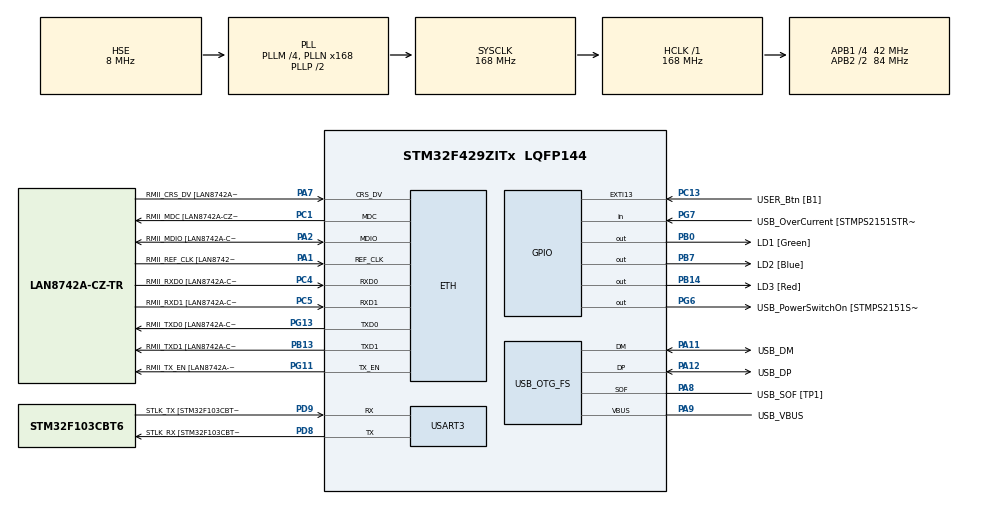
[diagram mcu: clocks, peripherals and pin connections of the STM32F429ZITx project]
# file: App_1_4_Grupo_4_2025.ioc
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ETH.MediaInterface=HAL_ETH_RMII_MODE
ETH.PHY_Name=LAN8742A_PHY_ADDRESS
ETH.PHY_Value=0
ETH.PhyAddress=0
Mcu.Family=STM32F4
Mcu.Name=STM32F429ZITx
Mcu.Package=LQFP144
NVIC.PriorityGroup=NVIC_PRIORITYGROUP_4
PA1.GPIO_Label=RMII_REF_CLK [LAN8742A-CZ-TR_REFCLK0]
PA1.Mode=RMII
PA1.Signal=ETH_REF_CLK
PA10.GPIO_Label=USB_ID
PA10.Signal=USB_OTG_FS_ID
PA11.GPIO_Label=USB_DM
PA11.Mode=Device_Only
PA11.Signal=USB_OTG_FS_DM
PA12.GPIO_Label=USB_DP
PA12.Mode=Device_Only
PA12.Signal=USB_OTG_FS_DP
PA13.GPIO_Label=TMS
PA13.Mode=Serial_Wire
PA13.Signal=SYS_JTMS-SWDIO
PA14.GPIO_Label=TCK
PA14.Mode=Serial_Wire
PA14.Signal=SYS_JTCK-SWCLK
PA2.GPIO_Label=RMII_MDIO [LAN8742A-CZ-TR_MDIO]
PA2.Mode=RMII
PA2.Signal=ETH_MDIO
PA7.GPIO_Label=RMII_CRS_DV [LAN8742A-CZ-TR_CRS_DV]
PA7.Mode=RMII
PA7.Signal=ETH_CRS_DV
PA8.GPIO_Label=USB_SOF [TP1]
PA8.Mode=Activate_SOF_FS
PA8.Signal=USB_OTG_FS_SOF
PA9.GPIO_Label=USB_VBUS
PA9.Mode=Activate_VBUS
PA9.Signal=USB_OTG_FS_VBUS
PB0.GPIO_Label=LD1 [Green]
PB0.Signal=GPIO_Output
PB13.GPIO_Label=RMII_TXD1 [LAN8742A-CZ-TR_TXD1]
PB13.Mode=RMII
PB13.Signal=ETH_TXD1
PB14.GPIO_Label=LD3 [Red]
PB14.Signal=GPIO_Output
PB7.GPIO_Label=LD2 [Blue]
PB7.Signal=GPIO_Output
PC1.GPIO_Label=RMII_MDC [LAN8742A-CZ-TR_MDC]
PC1.Mode=RMII
PC1.Signal=ETH_MDC
PC13.GPIO_Label=USER_Btn [B1]
PC13.Signal=GPXTI13
PC14/OSC32_IN.Mode=LSE-External-Oscillator
PC14/OSC32_IN.Signal=RCC_OSC32_IN
PC15/OSC32_OUT.Mode=LSE-External-Oscillator
PC15/OSC32_OUT.Signal=RCC_OSC32_OUT
PC4.GPIO_Label=RMII_RXD0 [LAN8742A-CZ-TR_RXD0]
PC4.Mode=RMII
PC4.Signal=ETH_RXD0
PC5.GPIO_Label=RMII_RXD1 [LAN8742A-CZ-TR_RXD1]
PC5.Mode=RMII
PC5.Signal=ETH_RXD1
PD8.GPIO_Label=STLK_RX [STM32F103CBT6_PA3]
PD8.Mode=Asynchronous
PD8.Signal=USART3_TX
PD9.GPIO_Label=STLK_TX [STM32F103CBT6_PA2]
PD9.Mode=Asynchronous
PD9.Signal=USART3_RX
PG11.GPIO_Label=RMII_TX_EN [LAN8742A-CZ-TR_TXEN]
PG11.Mode=RMII
PG11.Signal=ETH_TX_EN
PG13.GPIO_Label=RMII_TXD0 [LAN8742A-CZ-TR_TXD0]
PG13.Mode=RMII
PG13.Signal=ETH_TXD0
PG6.GPIO_Label=USB_PowerSwitchOn [STMPS2151STR_EN]
PG6.Signal=GPIO_Output
PG7.GPIO_Label=USB_OverCurrent [STMPS2151STR_FAULT]
PG7.Signal=GPIO_Input
PH0/OSC_IN.GPIO_Label=MCO [STM32F103CBT6_PA8]
PH0/OSC_IN.Mode=HSE-External-Clock-Source
PH0/OSC_IN.Signal=RCC_OSC_IN
PH1/OSC_OUT.Mode=HSE-External-Clock-Source
PH1/OSC_OUT.Signal=RCC_OSC_OUT
ProjectManager.HeapSize=0x200
ProjectManager.StackSize=0x400
ProjectManager.TargetToolchain=STM32CubeIDE
RCC.48MHZClocksFreq_Value=48000000
RCC.AHBFreq_Value=168000000
RCC.APB1CLKDivider=RCC_HCLK_DIV4
RCC.APB1Freq_Value=42000000
RCC.APB1TimFreq_Value=84000000
RCC.APB2CLKDivider=RCC_HCLK_DIV2
RCC.APB2Freq_Value=84000000
RCC.APB2TimCLKDivider=2
RCC.APB2TimFreq_Value=168000000
RCC.CortexFreq_Value=168000000
RCC.HCLKFreq_Value=168000000
RCC.HSE_VALUE=8000000
RCC.HSI_VALUE=16000000
RCC.PLLM=4
RCC.PLLMUL=RCC_PLL_MUL9
RCC.PLLN=168
RCC.PLLQ=7
RCC.PRESCALERUSB=RCC_USBCLKSOURCE_PLL_DIV1_5
RCC.SYSCLKFreq_VALUE=168000000
RCC.SYSCLKSource=RCC_SYSCLKSOURCE_PLLCLK
RCC.SYSCLKSourceVirtual=RCC_SYSCLKSOURCE_PLLCLK
RCC.USBFreq_Value=48000000
RCC.VCOOutputFreq_Value=336000000
USART3.VirtualMode=VM_ASYNC
USB_OTG_FS.VirtualMode=Device_Only
board=NUCLEO-F429ZI

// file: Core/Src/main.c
/* USER CODE BEGIN Header */
/**
  ******************************************************************************
  * @file           : main.c
  * @brief          : Main program body
  ******************************************************************************
  * @attention
  *
  * Copyright (c) 2025 STMicroelectronics.
  * All rights reserved.
  *
  * This software is licensed under terms that can be found in the LICENSE file
  * in the root directory of this software component.
  * If no LICENSE file comes with this software, it is provided AS-IS.
  *
  ******************************************************************************
  */
/* USER CODE END Header */
#include "main.h"
#include "string.h"
#include "API_GPIO.h"
#include "API_Delay.h"

/* USER CODE BEGIN PD */
#define LED1  ((led_t){LD1_GPIO_Port, LD1_Pin})
#define LED2  ((led_t){LD2_GPIO_Port, LD2_Pin})
#define LED3  ((led_t){LD3_GPIO_Port, LD3_Pin})
/* USER CODE END PD */

ETH_TxPacketConfig TxConfig;
ETH_DMADescTypeDef  DMARxDscrTab[ETH_RX_DESC_CNT]; /* Ethernet Rx DMA Descriptors */
ETH_DMADescTypeDef  DMATxDscrTab[ETH_TX_DESC_CNT]; /* Ethernet Tx DMA Descriptors */

ETH_HandleTypeDef heth;

UART_HandleTypeDef huart3;

PCD_HandleTypeDef hpcd_USB_OTG_FS;

/* USER CODE BEGIN PV */
// Vector de LEDs
led_t leds[] = {LED1, LED2, LED3};
delay_t delayLeds;
int num_leds;
uint32_t tiempos[] = {100, 250, 500, 1000};
int indiceTiempo = 0;
buttonStatus_t estadoAnterior;
delay_t delayLeds;
/* USER CODE END PV */

void SystemClock_Config(void);
void MX_GPIO_Init(void);           //elimino static
static void MX_ETH_Init(void);
static void MX_USART3_UART_Init(void);
static void MX_USB_OTG_FS_PCD_Init(void);

int main(void)
{

  /* MCU Configuration--------------------------------------------------------*/

  /* Reset of all peripherals, Initializes the Flash interface and the Systick. */
  HAL_Init();

  /* Configure the system clock */
  SystemClock_Config();

  /* Initialize all configured peripherals */
  MX_GPIO_Init();
  MX_ETH_Init();
  MX_USART3_UART_Init();
  MX_USB_OTG_FS_PCD_Init();
  /* USER CODE BEGIN 2 */

  int num_leds = sizeof(leds) / sizeof(leds[0]);

  estadoAnterior = readButton_GPIO();

  delayInit(&delayLeds, tiempos[indiceTiempo]);

  /* USER CODE END 2 */

  /* Infinite loop */
  while (1)
  {

    /* USER CODE BEGIN 3 */

	  buttonStatus_t estadoActual = readButton_GPIO();
	      if (estadoAnterior == true && estadoActual == false) {
	          indiceTiempo++;
	          if (indiceTiempo > 3) indiceTiempo = 0;

	          // actualizar el delay con el nuevo tiempo
	          delayWrite(&delayLeds, tiempos[indiceTiempo]);
	      }
	      estadoAnterior = estadoActual;

	      /* --- Control de LEDs --- */
	      if (delayRead(&delayLeds)) {
	          for (int i = 0; i < num_leds; i++) {
	              toggleLed_GPIO(leds[i]);
	          }
	      }
  }
  /* USER CODE END 3 */
}

void SystemClock_Config(void)
{
  RCC_OscInitTypeDef RCC_OscInitStruct = {0};
  RCC_ClkInitTypeDef RCC_ClkInitStruct = {0};

  /** Configure the main internal regulator output voltage
  */
  __HAL_RCC_PWR_CLK_ENABLE();
  __HAL_PWR_VOLTAGESCALING_CONFIG(PWR_REGULATOR_VOLTAGE_SCALE1);

  /** Initializes the RCC Oscillators according to the specified parameters
  * in the RCC_OscInitTypeDef structure.
  */
  RCC_OscInitStruct.OscillatorType = RCC_OSCILLATORTYPE_HSE;
  RCC_OscInitStruct.HSEState = RCC_HSE_BYPASS;
  RCC_OscInitStruct.PLL.PLLState = RCC_PLL_ON;
  RCC_OscInitStruct.PLL.PLLSource = RCC_PLLSOURCE_HSE;
  RCC_OscInitStruct.PLL.PLLM = 4;
  RCC_OscInitStruct.PLL.PLLN = 168;
  RCC_OscInitStruct.PLL.PLLP = RCC_PLLP_DIV2;
  RCC_OscInitStruct.PLL.PLLQ = 7;
  if (HAL_RCC_OscConfig(&RCC_OscInitStruct) != HAL_OK)
  {
    Error_Handler();
  }

  /** Initializes the CPU, AHB and APB buses clocks
  */
  RCC_ClkInitStruct.ClockType = RCC_CLOCKTYPE_HCLK|RCC_CLOCKTYPE_SYSCLK
                              |RCC_CLOCKTYPE_PCLK1|RCC_CLOCKTYPE_PCLK2;
  RCC_ClkInitStruct.SYSCLKSource = RCC_SYSCLKSOURCE_PLLCLK;
  RCC_ClkInitStruct.AHBCLKDivider = RCC_SYSCLK_DIV1;
  RCC_ClkInitStruct.APB1CLKDivider = RCC_HCLK_DIV4;
  RCC_ClkInitStruct.APB2CLKDivider = RCC_HCLK_DIV2;

  if (HAL_RCC_ClockConfig(&RCC_ClkInitStruct, FLASH_LATENCY_5) != HAL_OK)
  {
    Error_Handler();
  }
}

static void MX_ETH_Init(void)
{

   static uint8_t MACAddr[6];

  heth.Instance = ETH;
  MACAddr[0] = 0x00;
  MACAddr[1] = 0x80;
  MACAddr[2] = 0xE1;
  MACAddr[3] = 0x00;
  MACAddr[4] = 0x00;
  MACAddr[5] = 0x00;
  heth.Init.MACAddr = &MACAddr[0];
  heth.Init.MediaInterface = HAL_ETH_RMII_MODE;
  heth.Init.TxDesc = DMATxDscrTab;
  heth.Init.RxDesc = DMARxDscrTab;
  heth.Init.RxBuffLen = 1524;

  if (HAL_ETH_Init(&heth) != HAL_OK)
  {
    Error_Handler();
  }

  memset(&TxConfig, 0 , sizeof(ETH_TxPacketConfig));
  TxConfig.Attributes = ETH_TX_PACKETS_FEATURES_CSUM | ETH_TX_PACKETS_FEATURES_CRCPAD;
  TxConfig.ChecksumCtrl = ETH_CHECKSUM_IPHDR_PAYLOAD_INSERT_PHDR_CALC;
  TxConfig.CRCPadCtrl = ETH_CRC_PAD_INSERT;

}

static void MX_USART3_UART_Init(void)
{

  huart3.Instance = USART3;
  huart3.Init.BaudRate = 115200;
  huart3.Init.WordLength = UART_WORDLENGTH_8B;
  huart3.Init.StopBits = UART_STOPBITS_1;
  huart3.Init.Parity = UART_PARITY_NONE;
  huart3.Init.Mode = UART_MODE_TX_RX;
  huart3.Init.HwFlowCtl = UART_HWCONTROL_NONE;
  huart3.Init.OverSampling = UART_OVERSAMPLING_16;
  if (HAL_UART_Init(&huart3) != HAL_OK)
  {
    Error_Handler();
  }

}

static void MX_USB_OTG_FS_PCD_Init(void)
{

  hpcd_USB_OTG_FS.Instance = USB_OTG_FS;
  hpcd_USB_OTG_FS.Init.dev_endpoints = 4;
  hpcd_USB_OTG_FS.Init.speed = PCD_SPEED_FULL;
  hpcd_USB_OTG_FS.Init.dma_enable = DISABLE;
  hpcd_USB_OTG_FS.Init.phy_itface = PCD_PHY_EMBEDDED;
  hpcd_USB_OTG_FS.Init.Sof_enable = ENABLE;
  hpcd_USB_OTG_FS.Init.low_power_enable = DISABLE;
  hpcd_USB_OTG_FS.Init.lpm_enable = DISABLE;
  hpcd_USB_OTG_FS.Init.vbus_sensing_enable = ENABLE;
  hpcd_USB_OTG_FS.Init.use_dedicated_ep1 = DISABLE;
  if (HAL_PCD_Init(&hpcd_USB_OTG_FS) != HAL_OK)
  {
    Error_Handler();
  }

}

void Error_Handler(void)
{
  __disable_irq();
  while (1)
  {
  }
}
